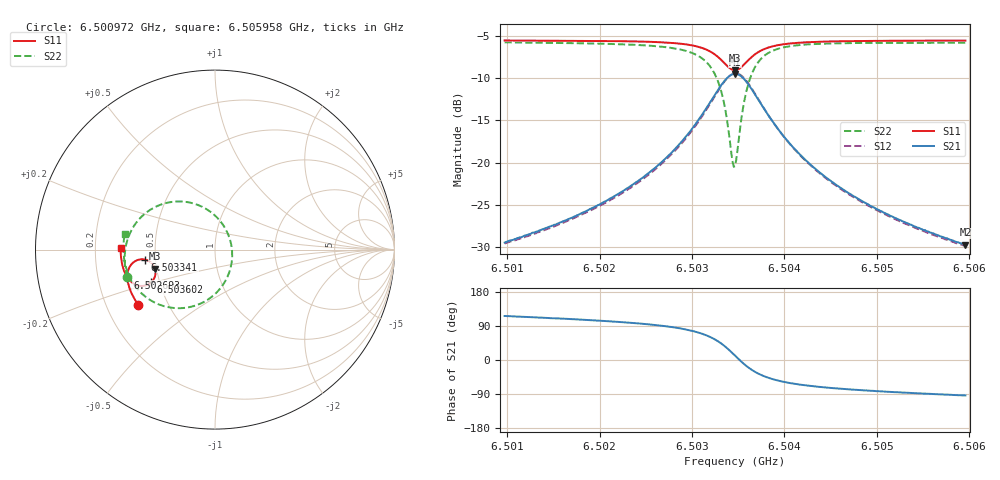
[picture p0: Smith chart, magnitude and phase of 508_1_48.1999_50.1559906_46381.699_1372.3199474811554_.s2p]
#  HZ  S  RI  R  50.00
! Rohde & Schwarz Vector Network Analyzer
! Rohde-Schwarz,ZNB20-2Port,1311601062101988,3.16
! Created: UTC 3/20/2024, 11:58:50 AM
! freq[Hz]  re:S11  im:S11  re:S21  im:S21  re:S12  im:S12  re:S22  im:S22
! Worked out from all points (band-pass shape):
!   401 points, 6.500972 GHz to 6.505958 GHz, reference 50 ohm
!   highest |S21| = -9.51 dB at 6.503465 GHz (marker M1); lowest = -29.7 dB at 6.505958 GHz (marker M2)
!   |S21| within 3 dB of the highest: 6.503217 GHz to 6.503715 GHz (497.8 kHz wide, 0.00765 % of centre)
!   lowest |S11| = -9.1 dB at 6.503465 GHz (marker M3), VSWR 2.08, Z = 24.5 - j5.9 ohm
!   |S11| at or under -10 dB: nowhere
!   |S22| runs from -20.5 to -5.8 dB; largest |S21 - S12| = 0.011
!   S11 on the Smith chart (normalised r, x): 6.500972 GHz: 0.34, -0.29; 6.502693 GHz: 0.33, -0.14; 6.503341 GHz: 0.44, -0.06; 6.503602 GHz: 0.45, -0.19; 6.505958 GHz: 0.31, +0.01
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6.5009724e9  -0.4269 -0.3092  -0.0148 0.0302  -0.0132 0.0305  -0.49 -0.1535
6.5018076e9  -0.4628 -0.2472  -0.0142 0.0482  -0.0119 0.0479  -0.5029 -0.0645
6.5022688e9  -0.4791 -0.2062  -0.0112 0.0678  -0.0083 0.0667  -0.4997 0.00144
6.5026427e9  -0.4879 -0.1646  -0.00204 0.0974  0.00134 0.0952  -0.4799 0.0767
6.5026925e9  -0.4884 -0.158  0.000551 0.1031  0.00386 0.1007  -0.4745 0.0895
6.5029543e9  -0.4841 -0.1166  0.0267 0.1445  0.0302 0.1402  -0.4198 0.1725
6.5031413e9  -0.4625 -0.0783  0.0815 0.1871  0.0835 0.1812  -0.3152 0.2455
6.5032534e9  -0.4293 -0.0574  0.1513 0.2048  0.1519 0.1991  -0.1894 0.268
6.5033407e9  -0.3883 -0.0558  0.2319 0.1885  0.232 0.1842  -0.0503 0.2272
6.503428e9  -0.3458 -0.084  0.3099 0.1153  0.3122 0.1117  0.074 0.0833
6.5034529e9  -0.3375 -0.0981  0.3233 0.0839  0.3265 0.0796  0.0912 0.0243
6.5034653e9  -0.3348 -0.1058  0.3277 0.0672  0.3312 0.0625  0.095 -0.00677
6.5034903e9  -0.3317 -0.1219  0.3313 0.0328  0.3353 0.0268  0.0931 -0.0694
6.5035277e9  -0.3337 -0.1456  0.3244 -0.0169  0.328 -0.0249  0.0667 -0.1575
6.5036025e9  -0.3556 -0.1824  0.2786 -0.0926  0.279 -0.1034  -0.0412 -0.2795
6.5037146e9  -0.4007 -0.2023  0.1927 -0.1379  0.1879 -0.1472  -0.2152 -0.3262
6.5038767e9  -0.4475 -0.1928  0.1098 -0.1344  0.1029 -0.1395  -0.3647 -0.2786
6.5040512e9  -0.4754 -0.1713  0.0646 -0.1138  0.0586 -0.1162  -0.4377 -0.2129
6.5043005e9  -0.4963 -0.1414  0.0342 -0.089  0.0297 -0.0895  -0.4815 -0.14
6.5046869e9  -0.5122 -0.1009  0.0147 -0.0647  0.0116 -0.0644  -0.5044 -0.0626
6.5051356e9  -0.5214 -0.0593  0.00506 -0.0486  0.00294 -0.048  -0.5104 0.00102
6.5059583e9  -0.5264 0.0105  -0.002 -0.0326  -0.00333 -0.0319  -0.5027 0.0886
